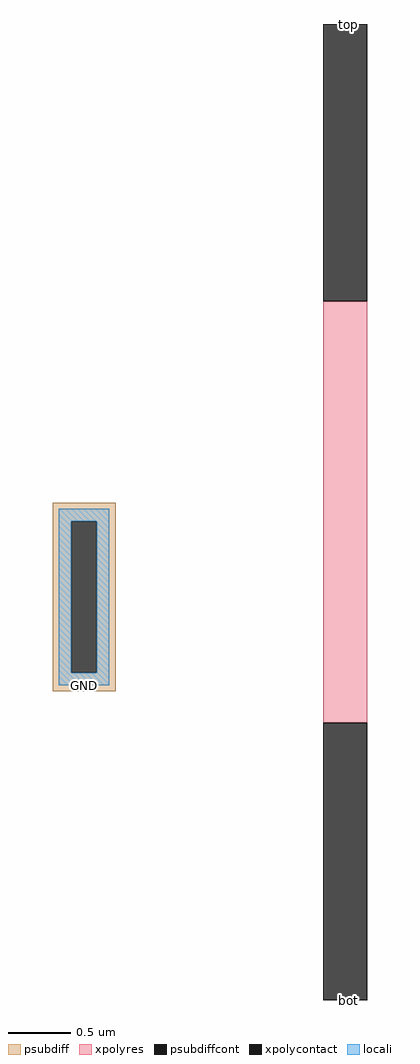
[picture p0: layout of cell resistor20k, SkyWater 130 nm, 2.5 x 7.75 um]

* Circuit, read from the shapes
.subckt resistor20k GND bot top
XR1 top bot GND sky130_fd_pr__res_xhigh_po w=0.35 l=3.35
.ends

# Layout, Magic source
magic
tech sky130A
<< psubdiff >>
rect -215 160 -165 175
rect -215 40 -200 160
rect -180 40 -165 160
rect -215 25 -165 40
<< psubdiffcont >>
rect -200 40 -180 160
<< xpolycontact >>
rect 0 335 35 555
rect 0 -220 35 0
<< xpolyres >>
rect 0 0 35 335
<< locali >>
rect -210 160 -170 170
rect -210 40 -200 160
rect -180 40 -170 160
rect -210 30 -170 40
<< labels >>
flabel xpolycontact 20 -220 20 -220 5 FreeSans 160 0 0 -80 bot
flabel locali -190 30 -190 30 5 FreeSans 160 0 0 -80 GND
flabel xpolycontact 20 555 20 555 1 FreeSans 160 0 0 80 top
<< end >>
